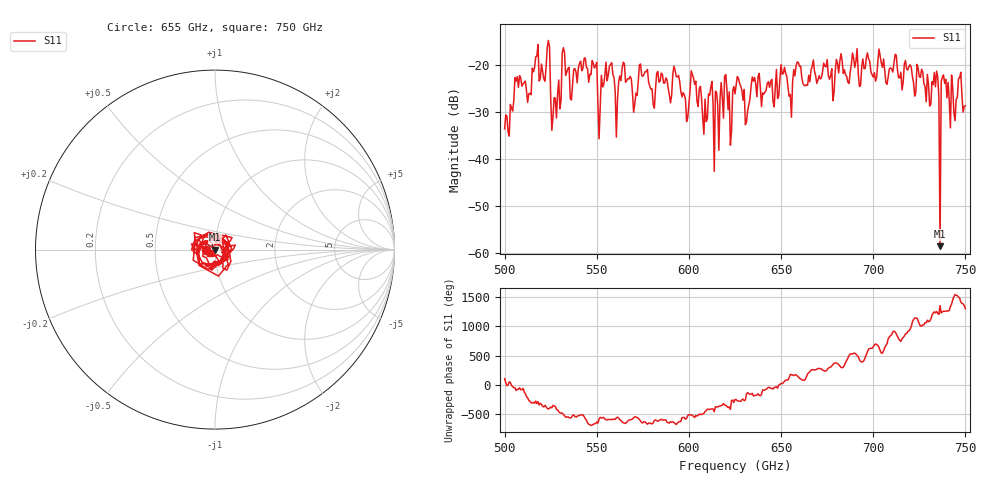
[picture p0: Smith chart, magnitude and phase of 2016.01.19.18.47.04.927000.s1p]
!Created with skrf (http://scikit-rf.org).
# GHz S RI R 50.0
!freq ReS11 ImS11
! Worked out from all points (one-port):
!   401 points, 500 GHz to 750 GHz, reference 50 ohm
!   lowest |S11| = -58.5 dB at 736.2 GHz (marker M1), VSWR 1.00, Z = 50 - j0.119 ohm
!   |S11| at or under -10 dB: start of sweep to end of sweep
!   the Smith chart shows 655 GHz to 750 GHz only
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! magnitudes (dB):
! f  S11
! 500 GHz  -33.5
! 506.9 GHz  -22.5
! 513.1 GHz  -26.1
! 516.9 GHz  -18.2
! 523.8 GHz  -14.8
! 526.9 GHz  -26.9
! 531.2 GHz  -17.5
! 548.8 GHz  -20.6
! 551.9 GHz  -29.1
! 556.2 GHz  -22.1
! 562.5 GHz  -22.3
! 593.8 GHz  -22.5
! 598.8 GHz  -32.0
! 602.5 GHz  -22.8
! 608.8 GHz  -27.2
! 611.9 GHz  -24.7
! 615 GHz  -25.8
! 625 GHz  -26.1
! 631.9 GHz  -29.6
! 635 GHz  -23.4
! 656.2 GHz  -23.6
! 659.4 GHz  -19.4
! 687.5 GHz  -21.5
! 718.8 GHz  -21.0
! 733.8 GHz  -24.6
! 736.2 GHz  -58.5
! 738.1 GHz  -22.1
! 750 GHz  -28.6
